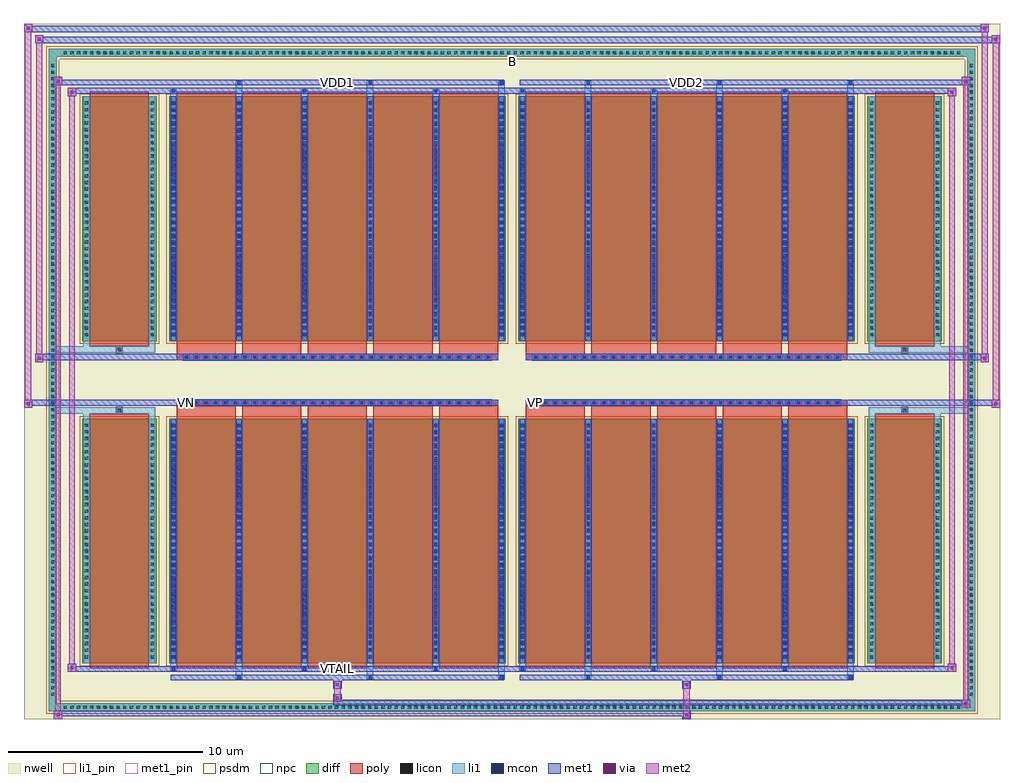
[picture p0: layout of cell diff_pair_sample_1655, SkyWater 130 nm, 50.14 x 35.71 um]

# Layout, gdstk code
import gdstk
lib = gdstk.Library(unit=1e-6, precision=5e-09)
def R(c, l, rs):  # rectangles x0, y0, x1, y1
    for r in rs: c.add(gdstk.rectangle(r[:2], r[2:], *l))
def A(c, l, x, y, w, h, nx, ny, dx, dy):  # array of equal rectangles
    R(c, l, [(x+i*dx, y+j*dy, x+i*dx+w, y+j*dy+h) for i in range(nx) for j in range(ny)])
def P(c, l, *ps):  # polygons
    for p in ps: c.add(gdstk.Polygon(p, *l))
nwell = (64, 20)
diff = (65, 20)
poly = (66, 20)
licon = (66, 44)
li1_pin = (67, 16)
li1 = (67, 20)
mcon = (67, 44)
met1_pin = (68, 16)
met1 = (68, 20)
via = (68, 44)
met2 = (69, 20)
psdm = (94, 20)
npc = (95, 20)

diff_pair_sample_1655 = lib.new_cell('diff_pair_sample_1655')
R(diff_pair_sample_1655, nwell, [(-25.07,-17.42,25.07,18.29), (-22.39,-15.61,-0.01,-0.805), (0.01,-15.61,22.39,-0.805), (-22.39,0.805,-0.01,15.61), (0.01,0.805,22.39,15.61)])
A(diff_pair_sample_1655, diff, -23.155, -17.02, 0.41, 0.41, 136, 2, 0.34, 33.63)
A(diff_pair_sample_1655, diff, -23.8, -16.355, 0.41, 0.41, 1, 96, 0, 0.34)
A(diff_pair_sample_1655, diff, 23.39, -16.355, 0.41, 0.41, 1, 96, 0, 0.34)
R(diff_pair_sample_1655, diff, [(-23.155,-17.02,23.155,-16.61), (-23.8,-16.355,-23.39,16.355), (23.39,-16.355,23.8,16.355), (-22.08,-14.565,-18.26,-1.985), (-17.62,-14.565,-0.32,-1.985), (0.32,-14.565,17.62,-1.985), (18.26,-14.565,22.08,-1.985), (-22.08,1.985,-18.26,14.565), (-17.62,1.985,-0.32,14.565), (0.32,1.985,17.62,14.565), (18.26,1.985,22.08,14.565), (-23.155,16.61,23.155,17.02)])
P(diff_pair_sample_1655, diff, [(23.8,17.02),(-23.8,17.02),(-23.8,-16.61),(-23.39,-16.61),(-23.39,16.61),(23.39,16.61),(23.39,-16.61),(-23.39,-16.61),(-23.8,-16.61),(-23.8,-17.02),(23.8,-17.02)])
A(diff_pair_sample_1655, poly, -17.23, -14.815, 3.04, 13.08, 5, 2, 3.37, 16.55)
A(diff_pair_sample_1655, poly, 0.71, -14.815, 3.04, 13.08, 5, 2, 3.37, 16.55)
A(diff_pair_sample_1655, poly, -17.23, -1.735, 3.04, 0.4, 5, 2, 3.37, 3.07)
A(diff_pair_sample_1655, poly, 0.71, -1.735, 3.04, 0.4, 5, 2, 3.37, 3.07)
A(diff_pair_sample_1655, poly, -16.885, -1.335, 0.33, 0.33, 32, 2, 0.5, 2.34)
A(diff_pair_sample_1655, poly, 1.055, -1.335, 0.33, 0.33, 32, 2, 0.5, 2.34)
R(diff_pair_sample_1655, poly, [(-21.69,-14.815,-18.65,-1.735), (18.65,-14.815,21.69,-1.735), (-20.335,-1.735,-20.005,-1.405), (-20.335,-1.735,-20.005,-1.405), (20.005,-1.735,20.335,-1.405), (20.005,-1.735,20.335,-1.405), (-17.23,-1.335,-0.71,-1.005), (0.71,-1.335,17.23,-1.005), (-17.23,1.005,-0.71,1.335), (0.71,1.005,17.23,1.335), (-20.335,1.405,-20.005,1.735), (-20.335,1.405,-20.005,1.735), (20.005,1.405,20.335,1.735), (20.005,1.405,20.335,1.735), (-21.69,1.735,-18.65,14.815), (18.65,1.735,21.69,14.815)])
A(diff_pair_sample_1655, licon, -23.035, -16.9, 0.17, 0.17, 136, 2, 0.34, 33.63)
A(diff_pair_sample_1655, licon, -23.68, -16.235, 0.17, 0.17, 1, 96, 0, 0.34)
A(diff_pair_sample_1655, licon, 23.51, -16.235, 0.17, 0.17, 1, 96, 0, 0.34)
A(diff_pair_sample_1655, licon, -21.94, -14.31, 0.17, 0.17, 1, 36, 0, 0.34)
A(diff_pair_sample_1655, licon, -18.57, -14.31, 0.17, 0.17, 1, 36, 0, 0.34)
A(diff_pair_sample_1655, licon, -17.48, -14.31, 0.17, 0.17, 6, 36, 3.37, 0.34)
A(diff_pair_sample_1655, licon, 0.46, -14.31, 0.17, 0.17, 6, 36, 3.37, 0.34)
A(diff_pair_sample_1655, licon, 18.4, -14.31, 0.17, 0.17, 1, 36, 0, 0.34)
A(diff_pair_sample_1655, licon, 21.77, -14.31, 0.17, 0.17, 1, 36, 0, 0.34)
A(diff_pair_sample_1655, licon, -16.805, -1.255, 0.17, 0.17, 32, 2, 0.5, 2.34)
A(diff_pair_sample_1655, licon, 1.135, -1.255, 0.17, 0.17, 32, 2, 0.5, 2.34)
A(diff_pair_sample_1655, licon, -21.94, 2.24, 0.17, 0.17, 1, 36, 0, 0.34)
A(diff_pair_sample_1655, licon, -18.57, 2.24, 0.17, 0.17, 1, 36, 0, 0.34)
A(diff_pair_sample_1655, licon, -17.48, 2.24, 0.17, 0.17, 6, 36, 3.37, 0.34)
A(diff_pair_sample_1655, licon, 0.46, 2.24, 0.17, 0.17, 6, 36, 3.37, 0.34)
A(diff_pair_sample_1655, licon, 18.4, 2.24, 0.17, 0.17, 1, 36, 0, 0.34)
A(diff_pair_sample_1655, licon, 21.77, 2.24, 0.17, 0.17, 1, 36, 0, 0.34)
R(diff_pair_sample_1655, licon, [(-20.255,-1.655,-20.085,-1.485), (20.085,-1.655,20.255,-1.485), (-20.255,1.485,-20.085,1.655), (20.085,1.485,20.255,1.655)])
R(diff_pair_sample_1655, li1_pin, [(-0.25,16.11,0.25,16.61)])
A(diff_pair_sample_1655, li1, -23.115, -16.98, 0.33, 0.33, 136, 2, 0.34, 33.63)
A(diff_pair_sample_1655, li1, -23.76, -16.315, 0.33, 0.33, 1, 96, 0, 0.34)
A(diff_pair_sample_1655, li1, 23.43, -16.315, 0.33, 0.33, 1, 96, 0, 0.34)
A(diff_pair_sample_1655, li1, -14.19, -15.37, 0.33, 0.805, 3, 2, 6.74, 29.935)
A(diff_pair_sample_1655, li1, -14.11, -15.37, 0.17, 0.17, 3, 2, 6.74, 30.57)
A(diff_pair_sample_1655, li1, 3.75, -15.37, 0.33, 0.805, 3, 2, 6.74, 29.935)
A(diff_pair_sample_1655, li1, 3.83, -15.37, 0.17, 0.17, 3, 2, 6.74, 30.57)
A(diff_pair_sample_1655, li1, -17.56, -14.94, 0.33, 0.375, 3, 2, 6.74, 29.505)
A(diff_pair_sample_1655, li1, -17.48, -14.94, 0.17, 0.17, 3, 2, 6.74, 29.71)
A(diff_pair_sample_1655, li1, 0.38, -14.94, 0.33, 0.375, 3, 2, 6.74, 29.505)
A(diff_pair_sample_1655, li1, 0.46, -14.94, 0.17, 0.17, 3, 2, 6.74, 29.71)
A(diff_pair_sample_1655, li1, -17.56, -14.565, 0.33, 12.58, 6, 2, 3.37, 16.55)
A(diff_pair_sample_1655, li1, 0.38, -14.565, 0.33, 12.58, 6, 2, 3.37, 16.55)
A(diff_pair_sample_1655, li1, -22.02, -14.39, 0.33, 0.33, 1, 36, 0, 0.34)
A(diff_pair_sample_1655, li1, -18.65, -14.39, 0.33, 0.33, 1, 36, 0, 0.34)
A(diff_pair_sample_1655, li1, -17.56, -14.39, 0.33, 0.33, 6, 36, 3.37, 0.34)
A(diff_pair_sample_1655, li1, 0.38, -14.39, 0.33, 0.33, 6, 36, 3.37, 0.34)
A(diff_pair_sample_1655, li1, 18.32, -14.39, 0.33, 0.33, 1, 36, 0, 0.34)
A(diff_pair_sample_1655, li1, 21.69, -14.39, 0.33, 0.33, 1, 36, 0, 0.34)
A(diff_pair_sample_1655, li1, -17.48, -14.3, 0.17, 0.17, 6, 34, 3.37, 0.36)
A(diff_pair_sample_1655, li1, -17.48, -14.3, 0.17, 12.05, 6, 2, 3.37, 16.55)
A(diff_pair_sample_1655, li1, 0.46, -14.3, 0.17, 0.17, 6, 34, 3.37, 0.36)
A(diff_pair_sample_1655, li1, 0.46, -14.3, 0.17, 12.05, 6, 2, 3.37, 16.55)
A(diff_pair_sample_1655, li1, -16.885, -1.335, 0.33, 0.33, 32, 2, 0.5, 2.34)
A(diff_pair_sample_1655, li1, 1.055, -1.335, 0.33, 0.33, 32, 2, 0.5, 2.34)
A(diff_pair_sample_1655, li1, -22.02, 2.16, 0.33, 0.33, 1, 36, 0, 0.34)
A(diff_pair_sample_1655, li1, -18.65, 2.16, 0.33, 0.33, 1, 36, 0, 0.34)
A(diff_pair_sample_1655, li1, -17.56, 2.16, 0.33, 0.33, 6, 36, 3.37, 0.34)
A(diff_pair_sample_1655, li1, 0.38, 2.16, 0.33, 0.33, 6, 36, 3.37, 0.34)
A(diff_pair_sample_1655, li1, 18.32, 2.16, 0.33, 0.33, 1, 36, 0, 0.34)
A(diff_pair_sample_1655, li1, 21.69, 2.16, 0.33, 0.33, 1, 36, 0, 0.34)
A(diff_pair_sample_1655, li1, -17.48, 2.25, 0.17, 0.17, 6, 34, 3.37, 0.36)
A(diff_pair_sample_1655, li1, 0.46, 2.25, 0.17, 0.17, 6, 34, 3.37, 0.36)
R(diff_pair_sample_1655, li1, [(-23.8,-17.02,-23.39,-16.61), (-23.8,-17.02,-23.39,-16.61), (-23.39,-17.02,23.39,-16.61), (23.39,-17.02,23.8,-16.61), (23.39,-17.02,23.8,-16.61), (-23.8,-16.61,-23.39,16.61), (23.39,-16.61,23.8,16.61), (-22.02,-14.565,-21.69,-1.985), (-18.65,-14.565,-18.32,-1.985), (18.32,-14.565,18.65,-1.985), (21.69,-14.565,22.02,-1.985), (-22.02,-1.985,-21.69,-1.405), (-18.65,-1.985,-18.32,-1.405), (18.32,-1.985,18.65,-1.405), (21.69,-1.985,22.02,-1.405), (-23.8,-1.735,-20.335,-1.405), (-22.02,-1.735,-20.335,-1.405), (-20.335,-1.735,-20.005,-1.405), (-20.005,-1.735,-18.32,-1.405), (18.32,-1.735,20.005,-1.405), (20.005,-1.735,20.335,-1.405), (20.005,-1.735,23.8,-1.405), (20.335,-1.735,22.02,-1.405), (-23.8,1.405,-20.335,1.735), (-22.02,1.405,-20.335,1.735), (-22.02,1.405,-21.69,1.985), (-20.335,1.405,-20.005,1.735), (-20.005,1.405,-18.32,1.735), (-18.65,1.405,-18.32,1.985), (18.32,1.405,20.005,1.735), (18.32,1.405,18.65,1.985), (20.005,1.405,20.335,1.735), (20.005,1.405,23.8,1.735), (20.335,1.405,22.02,1.735), (21.69,1.405,22.02,1.985), (-22.02,1.985,-21.69,14.565), (-18.65,1.985,-18.32,14.565), (18.32,1.985,18.65,14.565), (21.69,1.985,22.02,14.565), (-23.8,16.61,-23.39,17.02), (-23.8,16.61,-23.39,17.02), (-23.39,16.61,23.39,17.02), (23.39,16.61,23.8,17.02), (23.39,16.61,23.8,17.02)])
A(diff_pair_sample_1655, mcon, -14.11, -15.37, 0.17, 0.17, 3, 2, 6.74, 30.57)
A(diff_pair_sample_1655, mcon, 3.83, -15.37, 0.17, 0.17, 3, 2, 6.74, 30.57)
A(diff_pair_sample_1655, mcon, -17.48, -14.94, 0.17, 0.17, 3, 2, 6.74, 29.71)
A(diff_pair_sample_1655, mcon, 0.46, -14.94, 0.17, 0.17, 3, 2, 6.74, 29.71)
A(diff_pair_sample_1655, mcon, -17.48, -14.3, 0.17, 0.17, 6, 34, 3.37, 0.36)
A(diff_pair_sample_1655, mcon, 0.46, -14.3, 0.17, 0.17, 6, 34, 3.37, 0.36)
A(diff_pair_sample_1655, mcon, -16.805, -1.255, 0.17, 0.17, 32, 2, 0.5, 2.34)
A(diff_pair_sample_1655, mcon, 1.135, -1.255, 0.17, 0.17, 32, 2, 0.5, 2.34)
A(diff_pair_sample_1655, mcon, -17.48, 2.25, 0.17, 0.17, 6, 34, 3.37, 0.36)
A(diff_pair_sample_1655, mcon, 0.46, 2.25, 0.17, 0.17, 6, 34, 3.37, 0.36)
R(diff_pair_sample_1655, met1_pin, [(-9.105,-14.98,-8.835,-14.71), (-16.855,-1.295,-16.585,-1.025), (1.085,-1.295,1.355,-1.025), (-9.105,15.16,-8.835,15.43), (8.835,15.16,9.105,15.43)])
A(diff_pair_sample_1655, met1, -14.17, -15.43, 0.29, 0.29, 3, 2, 6.74, 30.57)
A(diff_pair_sample_1655, met1, 3.77, -15.43, 0.29, 0.29, 3, 2, 6.74, 30.57)
A(diff_pair_sample_1655, met1, -17.54, -15, 0.29, 0.29, 3, 2, 6.74, 29.71)
A(diff_pair_sample_1655, met1, 0.4, -15, 0.29, 0.29, 3, 2, 6.74, 29.71)
A(diff_pair_sample_1655, met1, -17.54, -14.565, 0.29, 12.58, 6, 2, 3.37, 16.55)
A(diff_pair_sample_1655, met1, 0.4, -14.565, 0.29, 12.58, 6, 2, 3.37, 16.55)
A(diff_pair_sample_1655, met1, -17.54, -14.36, 0.29, 0.29, 6, 34, 3.37, 0.36)
A(diff_pair_sample_1655, met1, 0.4, -14.36, 0.29, 0.29, 6, 34, 3.37, 0.36)
A(diff_pair_sample_1655, met1, -16.865, -1.315, 0.29, 0.29, 32, 2, 0.5, 2.34)
A(diff_pair_sample_1655, met1, 1.075, -1.315, 0.29, 0.29, 32, 2, 0.5, 2.34)
A(diff_pair_sample_1655, met1, -17.54, 2.19, 0.29, 0.29, 6, 34, 3.37, 0.36)
A(diff_pair_sample_1655, met1, 0.4, 2.19, 0.29, 0.29, 6, 34, 3.37, 0.36)
R(diff_pair_sample_1655, met1, [(-23.53,-17.42,-23.1,-16.99), (8.755,-17.42,9.185,-16.99), (-23.53,-17.28,9.185,-16.99), (23.1,-16.85,23.53,-16.42), (-9.185,-16.71,23.53,-16.42), (-9.185,-16.57,-8.755,-16.14), (-9.185,-15.86,-8.755,-15.43), (8.755,-15.86,9.185,-15.43), (-17.54,-15.43,-0.4,-15.14), (0.4,-15.43,17.54,-15.14), (-22.82,-15,-22.39,-14.57), (-22.82,-15,-17.54,-14.71), (-17.54,-15,-0.4,-14.71), (-0.4,-15,0.4,-14.71), (0.4,-15,17.54,-14.71), (17.54,-15,22.82,-14.71), (22.39,-15,22.82,-14.57), (-25.07,-1.435,-24.64,-1.005), (24.64,-1.435,25.07,-1.005), (-25.07,-1.335,-0.71,-1.005), (-17.23,-1.335,-0.71,-1.005), (0.71,-1.335,17.23,-1.005), (0.71,-1.335,25.07,-1.005), (-24.5,0.905,-24.07,1.335), (24.07,0.905,24.5,1.335), (-24.5,1.005,-17.23,1.335), (-17.23,1.005,-0.71,1.335), (0.71,1.005,17.23,1.335), (17.23,1.005,24.5,1.335), (-22.82,14.57,-22.39,15), (22.39,14.57,22.82,15), (-22.82,14.71,-17.54,15), (-17.54,14.71,-0.4,15), (-0.4,14.71,0.4,15), (0.4,14.71,17.54,15), (17.54,14.71,22.82,15), (-23.53,15.14,-23.1,15.57), (-23.53,15.14,-17.54,15.43), (-17.54,15.14,-0.4,15.43), (0.4,15.14,17.54,15.43), (17.54,15.14,23.53,15.43), (23.1,15.14,23.53,15.57), (-24.5,17.29,-24.07,17.72), (-24.5,17.29,-22.39,17.62), (-22.39,17.29,22.39,17.62), (22.39,17.29,25.07,17.62), (24.64,17.29,25.07,17.72), (-25.07,17.86,-24.64,18.29), (-25.07,17.86,-22.39,18.19), (-22.39,17.86,22.39,18.19), (22.39,17.86,24.5,18.19), (24.07,17.86,24.5,18.29)])
R(diff_pair_sample_1655, via, [(-23.39,-17.28,-23.24,-17.13), (8.895,-17.28,9.045,-17.13), (23.24,-16.71,23.39,-16.56), (-9.045,-16.43,-8.895,-16.28), (-9.045,-15.72,-8.895,-15.57), (8.895,-15.72,9.045,-15.57), (-22.68,-14.86,-22.53,-14.71), (22.53,-14.86,22.68,-14.71), (-24.93,-1.295,-24.78,-1.145), (24.78,-1.295,24.93,-1.145), (-24.36,1.045,-24.21,1.195), (24.21,1.045,24.36,1.195), (-22.68,14.71,-22.53,14.86), (22.53,14.71,22.68,14.86), (-23.39,15.28,-23.24,15.43), (23.24,15.28,23.39,15.43), (-24.36,17.43,-24.21,17.58), (24.78,17.43,24.93,17.58), (-24.93,18,-24.78,18.15), (24.21,18,24.36,18.15)])
R(diff_pair_sample_1655, met2, [(-23.53,-17.42,-23.1,-16.99), (-23.46,-17.42,-23.17,15.57), (-23.17,-17.42,-23.1,-16.99), (-23.48,-17.37,-23.15,-17.04), (8.805,-17.37,9.135,-17.04), (8.805,-17.04,9.135,-15.81), (23.1,-16.85,23.53,-16.42), (23.17,-16.85,23.46,15.57), (23.46,-16.85,23.53,-16.42), (23.15,-16.8,23.48,-16.47), (-9.135,-16.52,-8.805,-16.19), (-9.135,-16.19,-8.805,-15.81), (-9.135,-15.81,-8.805,-15.48), (8.805,-15.81,9.135,-15.48), (-22.82,-15,-22.39,-14.57), (-22.75,-15,-22.46,15), (-22.46,-15,-22.39,-14.57), (22.39,-15,22.82,-14.57), (22.46,-15,22.75,15), (22.75,-15,22.82,-14.57), (-22.77,-14.95,-22.44,-14.62), (22.44,-14.95,22.77,-14.62), (-25.07,-1.435,-24.64,-1.005), (-25.02,-1.435,-24.69,18.29), (-24.69,-1.435,-24.64,-1.005), (24.64,-1.435,25.07,-1.005), (24.69,-1.435,25.02,17.72), (25.02,-1.435,25.07,-1.005), (-25.02,-1.385,-24.69,-1.055), (24.69,-1.385,25.02,-1.055), (-24.5,0.905,-24.07,1.335), (-24.45,0.905,-24.12,17.72), (-24.12,0.905,-24.07,1.335), (24.07,0.905,24.5,1.335), (24.12,0.905,24.45,18.29), (24.45,0.905,24.5,1.335), (-24.45,0.955,-24.12,1.285), (24.12,0.955,24.45,1.285), (-22.82,14.57,-22.39,15), (-22.46,14.57,-22.39,15), (22.39,14.57,22.82,15), (22.75,14.57,22.82,15), (-22.77,14.62,-22.44,14.95), (22.44,14.62,22.77,14.95), (-23.53,15.14,-23.1,15.57), (-23.17,15.14,-23.1,15.57), (23.1,15.14,23.53,15.57), (23.46,15.14,23.53,15.57), (-23.48,15.19,-23.15,15.52), (23.15,15.19,23.48,15.52), (-24.5,17.29,-24.07,17.72), (-24.12,17.29,-24.07,17.72), (24.64,17.29,25.07,17.72), (25.02,17.29,25.07,17.72), (-24.45,17.34,-24.12,17.67), (24.69,17.34,25.02,17.67), (-25.07,17.86,-24.64,18.29), (-24.69,17.86,-24.64,18.29), (24.07,17.86,24.5,18.29), (24.45,17.86,24.5,18.29), (-25.02,17.91,-24.69,18.24), (24.12,17.91,24.45,18.24)])
R(diff_pair_sample_1655, psdm, [(-22.21,-14.695,-18.13,-1.855), (-17.75,-14.695,-0.19,-1.855), (0.19,-14.695,17.75,-1.855), (18.13,-14.695,22.21,-1.855), (-22.21,1.855,-18.13,14.695), (-17.75,1.855,-0.19,14.695), (0.19,1.855,17.75,14.695), (18.13,1.855,22.21,14.695)])
P(diff_pair_sample_1655, psdm, [(23.93,17.15),(-23.93,17.15),(-23.93,-16.48),(-23.26,-16.48),(-23.26,16.48),(23.26,16.48),(23.26,-16.48),(-23.26,-16.48),(-23.93,-16.48),(-23.93,-17.15),(23.93,-17.15)])
A(diff_pair_sample_1655, npc, -16.905, -1.355, 0.37, 0.37, 32, 2, 0.5, 2.34)
A(diff_pair_sample_1655, npc, 1.035, -1.355, 0.37, 0.37, 32, 2, 0.5, 2.34)
R(diff_pair_sample_1655, npc, [(-20.355,-1.755,-19.985,-1.385), (19.985,-1.755,20.355,-1.385), (-16.905,-1.355,-16.035,-0.985), (-16.905,-1.355,-16.035,-0.985), (-16.405,-1.355,-15.535,-0.985), (-16.405,-1.355,-15.535,-0.985), (-15.905,-1.355,-15.035,-0.985), (-15.905,-1.355,-15.035,-0.985), (-15.405,-1.355,-14.535,-0.985), (-15.405,-1.355,-14.535,-0.985), (-14.905,-1.355,-14.035,-0.985), (-14.905,-1.355,-14.035,-0.985), (-14.405,-1.355,-13.535,-0.985), (-14.405,-1.355,-13.535,-0.985), (-13.905,-1.355,-13.035,-0.985), (-13.905,-1.355,-13.035,-0.985), (-13.405,-1.355,-12.535,-0.985), (-13.405,-1.355,-12.535,-0.985), (-12.905,-1.355,-12.035,-0.985), (-12.905,-1.355,-12.035,-0.985), (-12.405,-1.355,-11.535,-0.985), (-12.405,-1.355,-11.535,-0.985), (-11.905,-1.355,-11.035,-0.985), (-11.905,-1.355,-11.035,-0.985), (-11.405,-1.355,-10.535,-0.985), (-11.405,-1.355,-10.535,-0.985), (-10.905,-1.355,-10.035,-0.985), (-10.905,-1.355,-10.035,-0.985), (-10.405,-1.355,-9.535,-0.985), (-10.405,-1.355,-9.535,-0.985), (-9.905,-1.355,-9.035,-0.985), (-9.905,-1.355,-9.035,-0.985), (-9.405,-1.355,-8.535,-0.985), (-9.405,-1.355,-8.535,-0.985), (-8.905,-1.355,-8.035,-0.985), (-8.905,-1.355,-8.035,-0.985), (-8.405,-1.355,-7.535,-0.985), (-8.405,-1.355,-7.535,-0.985), (-7.905,-1.355,-7.035,-0.985), (-7.905,-1.355,-7.035,-0.985), (-7.405,-1.355,-6.535,-0.985), (-7.405,-1.355,-6.535,-0.985), (-6.905,-1.355,-6.035,-0.985), (-6.905,-1.355,-6.035,-0.985), (-6.405,-1.355,-5.535,-0.985), (-6.405,-1.355,-5.535,-0.985), (-5.905,-1.355,-5.035,-0.985), (-5.905,-1.355,-5.035,-0.985), (-5.405,-1.355,-4.535,-0.985), (-5.405,-1.355,-4.535,-0.985), (-4.905,-1.355,-4.035,-0.985), (-4.905,-1.355,-4.035,-0.985), (-4.405,-1.355,-3.535,-0.985), (-4.405,-1.355,-3.535,-0.985), (-3.905,-1.355,-3.035,-0.985), (-3.905,-1.355,-3.035,-0.985), (-3.405,-1.355,-2.535,-0.985), (-3.405,-1.355,-2.535,-0.985), (-2.905,-1.355,-2.035,-0.985), (-2.905,-1.355,-2.035,-0.985), (-2.405,-1.355,-1.535,-0.985), (-2.405,-1.355,-1.535,-0.985), (-1.905,-1.355,-1.035,-0.985), (-1.905,-1.355,-1.035,-0.985), (1.035,-1.355,1.905,-0.985), (1.035,-1.355,1.905,-0.985), (1.535,-1.355,2.405,-0.985), (1.535,-1.355,2.405,-0.985), (2.035,-1.355,2.905,-0.985), (2.035,-1.355,2.905,-0.985), (2.535,-1.355,3.405,-0.985), (2.535,-1.355,3.405,-0.985), (3.035,-1.355,3.905,-0.985), (3.035,-1.355,3.905,-0.985), (3.535,-1.355,4.405,-0.985), (3.535,-1.355,4.405,-0.985), (4.035,-1.355,4.905,-0.985), (4.035,-1.355,4.905,-0.985), (4.535,-1.355,5.405,-0.985), (4.535,-1.355,5.405,-0.985), (5.035,-1.355,5.905,-0.985), (5.035,-1.355,5.905,-0.985), (5.535,-1.355,6.405,-0.985), (5.535,-1.355,6.405,-0.985), (6.035,-1.355,6.905,-0.985), (6.035,-1.355,6.905,-0.985), (6.535,-1.355,7.405,-0.985), (6.535,-1.355,7.405,-0.985), (7.035,-1.355,7.905,-0.985), (7.035,-1.355,7.905,-0.985), (7.535,-1.355,8.405,-0.985), (7.535,-1.355,8.405,-0.985), (8.035,-1.355,8.905,-0.985), (8.035,-1.355,8.905,-0.985), (8.535,-1.355,9.405,-0.985), (8.535,-1.355,9.405,-0.985), (9.035,-1.355,9.905,-0.985), (9.035,-1.355,9.905,-0.985), (9.535,-1.355,10.405,-0.985), (9.535,-1.355,10.405,-0.985), (10.035,-1.355,10.905,-0.985), (10.035,-1.355,10.905,-0.985), (10.535,-1.355,11.405,-0.985), (10.535,-1.355,11.405,-0.985), (11.035,-1.355,11.905,-0.985), (11.035,-1.355,11.905,-0.985), (11.535,-1.355,12.405,-0.985), (11.535,-1.355,12.405,-0.985), (12.035,-1.355,12.905,-0.985), (12.035,-1.355,12.905,-0.985), (12.535,-1.355,13.405,-0.985), (12.535,-1.355,13.405,-0.985), (13.035,-1.355,13.905,-0.985), (13.035,-1.355,13.905,-0.985), (13.535,-1.355,14.405,-0.985), (13.535,-1.355,14.405,-0.985), (14.035,-1.355,14.905,-0.985), (14.035,-1.355,14.905,-0.985), (14.535,-1.355,15.405,-0.985), (14.535,-1.355,15.405,-0.985), (15.035,-1.355,15.905,-0.985), (15.035,-1.355,15.905,-0.985), (15.535,-1.355,16.405,-0.985), (15.535,-1.355,16.405,-0.985), (16.035,-1.355,16.905,-0.985), (16.035,-1.355,16.905,-0.985), (-16.905,0.985,-16.035,1.355), (-16.905,0.985,-16.035,1.355), (-16.405,0.985,-15.535,1.355), (-16.405,0.985,-15.535,1.355), (-15.905,0.985,-15.035,1.355), (-15.905,0.985,-15.035,1.355), (-15.405,0.985,-14.535,1.355), (-15.405,0.985,-14.535,1.355), (-14.905,0.985,-14.035,1.355), (-14.905,0.985,-14.035,1.355), (-14.405,0.985,-13.535,1.355), (-14.405,0.985,-13.535,1.355), (-13.905,0.985,-13.035,1.355), (-13.905,0.985,-13.035,1.355), (-13.405,0.985,-12.535,1.355), (-13.405,0.985,-12.535,1.355), (-12.905,0.985,-12.035,1.355), (-12.905,0.985,-12.035,1.355), (-12.405,0.985,-11.535,1.355), (-12.405,0.985,-11.535,1.355), (-11.905,0.985,-11.035,1.355), (-11.905,0.985,-11.035,1.355), (-11.405,0.985,-10.535,1.355), (-11.405,0.985,-10.535,1.355), (-10.905,0.985,-10.035,1.355), (-10.905,0.985,-10.035,1.355), (-10.405,0.985,-9.535,1.355), (-10.405,0.985,-9.535,1.355), (-9.905,0.985,-9.035,1.355), (-9.905,0.985,-9.035,1.355), (-9.405,0.985,-8.535,1.355), (-9.405,0.985,-8.535,1.355), (-8.905,0.985,-8.035,1.355), (-8.905,0.985,-8.035,1.355), (-8.405,0.985,-7.535,1.355), (-8.405,0.985,-7.535,1.355), (-7.905,0.985,-7.035,1.355), (-7.905,0.985,-7.035,1.355), (-7.405,0.985,-6.535,1.355), (-7.405,0.985,-6.535,1.355), (-6.905,0.985,-6.035,1.355), (-6.905,0.985,-6.035,1.355), (-6.405,0.985,-5.535,1.355), (-6.405,0.985,-5.535,1.355), (-5.905,0.985,-5.035,1.355), (-5.905,0.985,-5.035,1.355), (-5.405,0.985,-4.535,1.355), (-5.405,0.985,-4.535,1.355), (-4.905,0.985,-4.035,1.355), (-4.905,0.985,-4.035,1.355), (-4.405,0.985,-3.535,1.355), (-4.405,0.985,-3.535,1.355), (-3.905,0.985,-3.035,1.355), (-3.905,0.985,-3.035,1.355), (-3.405,0.985,-2.535,1.355), (-3.405,0.985,-2.535,1.355), (-2.905,0.985,-2.035,1.355), (-2.905,0.985,-2.035,1.355), (-2.405,0.985,-1.535,1.355), (-2.405,0.985,-1.535,1.355), (-1.905,0.985,-1.035,1.355), (-1.905,0.985,-1.035,1.355), (1.035,0.985,1.905,1.355), (1.035,0.985,1.905,1.355), (1.535,0.985,2.405,1.355), (1.535,0.985,2.405,1.355), (2.035,0.985,2.905,1.355), (2.035,0.985,2.905,1.355), (2.535,0.985,3.405,1.355), (2.535,0.985,3.405,1.355), (3.035,0.985,3.905,1.355), (3.035,0.985,3.905,1.355), (3.535,0.985,4.405,1.355), (3.535,0.985,4.405,1.355), (4.035,0.985,4.905,1.355), (4.035,0.985,4.905,1.355), (4.535,0.985,5.405,1.355), (4.535,0.985,5.405,1.355), (5.035,0.985,5.905,1.355), (5.035,0.985,5.905,1.355), (5.535,0.985,6.405,1.355), (5.535,0.985,6.405,1.355), (6.035,0.985,6.905,1.355), (6.035,0.985,6.905,1.355), (6.535,0.985,7.405,1.355), (6.535,0.985,7.405,1.355), (7.035,0.985,7.905,1.355), (7.035,0.985,7.905,1.355), (7.535,0.985,8.405,1.355), (7.535,0.985,8.405,1.355), (8.035,0.985,8.905,1.355), (8.035,0.985,8.905,1.355), (8.535,0.985,9.405,1.355), (8.535,0.985,9.405,1.355), (9.035,0.985,9.905,1.355), (9.035,0.985,9.905,1.355), (9.535,0.985,10.405,1.355), (9.535,0.985,10.405,1.355), (10.035,0.985,10.905,1.355), (10.035,0.985,10.905,1.355), (10.535,0.985,11.405,1.355), (10.535,0.985,11.405,1.355), (11.035,0.985,11.905,1.355), (11.035,0.985,11.905,1.355), (11.535,0.985,12.405,1.355), (11.535,0.985,12.405,1.355), (12.035,0.985,12.905,1.355), (12.035,0.985,12.905,1.355), (12.535,0.985,13.405,1.355), (12.535,0.985,13.405,1.355), (13.035,0.985,13.905,1.355), (13.035,0.985,13.905,1.355), (13.535,0.985,14.405,1.355), (13.535,0.985,14.405,1.355), (14.035,0.985,14.905,1.355), (14.035,0.985,14.905,1.355), (14.535,0.985,15.405,1.355), (14.535,0.985,15.405,1.355), (15.035,0.985,15.905,1.355), (15.035,0.985,15.905,1.355), (15.535,0.985,16.405,1.355), (15.535,0.985,16.405,1.355), (16.035,0.985,16.905,1.355), (16.035,0.985,16.905,1.355), (-20.355,1.385,-19.985,1.755), (19.985,1.385,20.355,1.755)])
diff_pair_sample_1655.add(gdstk.Label('VTAIL', (-8.97,-14.845), layer=68, texttype=5))
diff_pair_sample_1655.add(gdstk.Label('VN', (-16.72,-1.16), layer=68, texttype=5))
diff_pair_sample_1655.add(gdstk.Label('VP', (1.22,-1.16), layer=68, texttype=5))
diff_pair_sample_1655.add(gdstk.Label('B', (0,16.36), layer=67, texttype=5))
diff_pair_sample_1655.add(gdstk.Label('VDD2', (8.97,15.295), layer=68, texttype=5))
diff_pair_sample_1655.add(gdstk.Label('VDD1', (-8.97,15.295), layer=68, texttype=5))

lib.write_gds('diff_pair_sample_1655.gds')
